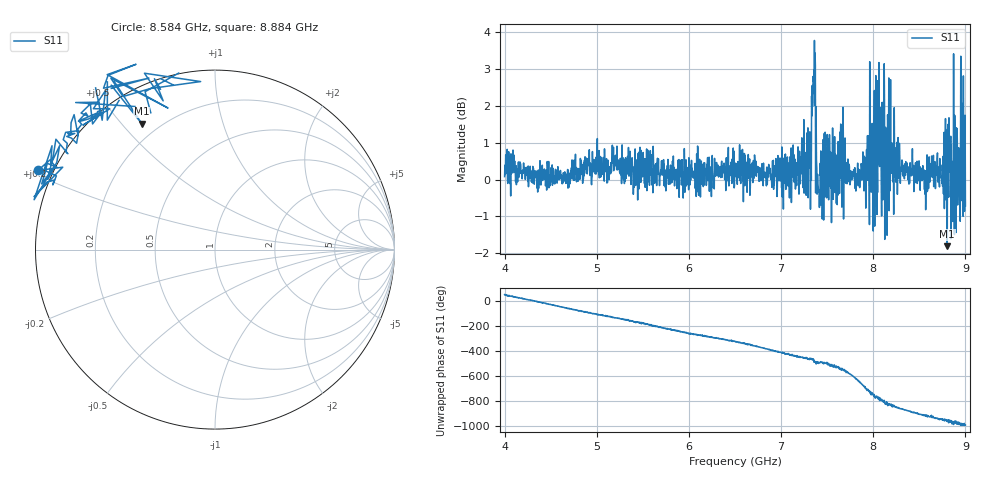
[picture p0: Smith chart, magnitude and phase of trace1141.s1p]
! Created with skrf 1.8.0 (http://scikit-rf.org).
# Hz S RI R 50.0
!freq ReS11 ImS11
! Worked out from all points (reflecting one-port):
!   1601 points, 4 GHz to 9 GHz, reference 50 ohm
!   lowest |S11| = -1.8 dB at 8.803 GHz (marker M1), VSWR 9.66, Z = 6.87 + j28.4 ohm
!   phase of S11 starts at 54 deg and turns -1048 deg over the sweep
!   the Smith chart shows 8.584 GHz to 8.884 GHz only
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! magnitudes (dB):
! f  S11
! 4 GHz  0.1
! 4.625 GHz  -0.1
! 5.25 GHz  0.2
! 5.875 GHz  0.2
! 6.5 GHz  0.2
! 7.125 GHz  0.2
! 7.294 GHz  -0.5
! 7.356 GHz  3.0
! 7.4 GHz  -0.1
! 7.428 GHz  0.1
! 7.503 GHz  0.9
! 7.609 GHz  -0.7
! 7.65 GHz  1.5
! 7.75 GHz  -0.1
! 7.988 GHz  1.5
! 7.994 GHz  0.7
! 8.053 GHz  0.4
! 8.066 GHz  0.8
! 8.097 GHz  0.3
! 8.147 GHz  1.4
! 8.178 GHz  1.9
! 8.216 GHz  0.7
! 8.375 GHz  0.2
! 8.578 GHz  -0.3
! 8.803 GHz  -1.8
! 8.875 GHz  0.0
! 8.972 GHz  0.6
! 9 GHz  -0.7
